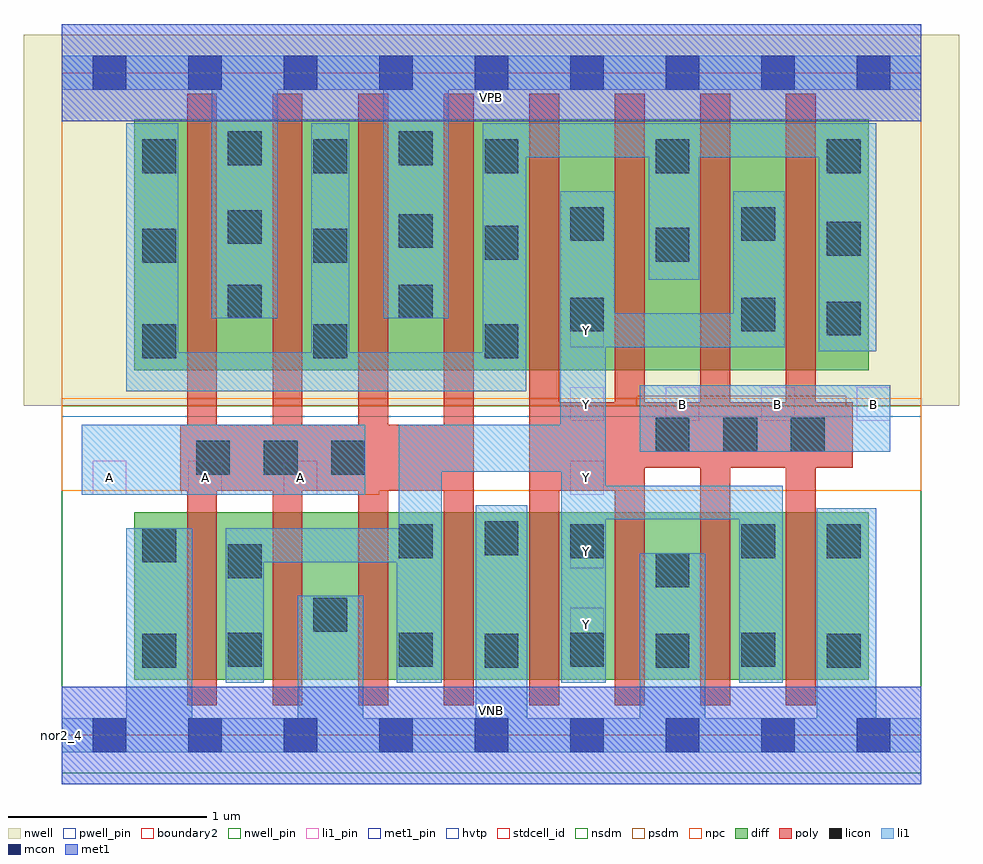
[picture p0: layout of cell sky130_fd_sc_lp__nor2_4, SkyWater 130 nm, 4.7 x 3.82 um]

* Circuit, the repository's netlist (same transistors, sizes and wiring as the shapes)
* Copyright 2020 The SkyWater PDK Authors
*
* Licensed under the Apache License, Version 2.0 (the "License");
* you may not use this file except in compliance with the License.
* You may obtain a copy of the License at
*
*     https://www.apache.org/licenses/LICENSE-2.0
*
* Unless required by applicable law or agreed to in writing, software
* distributed under the License is distributed on an "AS IS" BASIS,
* WITHOUT WARRANTIES OR CONDITIONS OF ANY KIND, either express or implied.
* See the License for the specific language governing permissions and
* limitations under the License.
*
* SPDX-License-Identifier: Apache-2.0

.SUBCKT sky130_fd_sc_lp__nor2_4 A B VGND VNB VPB VPWR Y
*.PININFO A:I B:I VGND:I VNB:I VPB:I VPWR:I Y:O
MMP0 VPWR A sndPA VPB sky130_fd_pr__pfet_01v8_hvt m=4 w=1.26U l=0.15U mult=1 sa=0.265
+ sb=0.265 sd=0.28 area=0.063 perim=1.14
MMP1 sndPA B Y VPB sky130_fd_pr__pfet_01v8_hvt m=4 w=1.26U l=0.15U mult=1 sa=0.265
+ sb=0.265 sd=0.28 area=0.063 perim=1.14
MMN0 Y A VGND VNB sky130_fd_pr__nfet_01v8 m=4 w=0.84U l=0.15U mult=1 sa=0.265 sb=0.265
+ sd=0.28 area=0.063 perim=1.14
MMN1 Y B VGND VNB sky130_fd_pr__nfet_01v8 m=4 w=0.84U l=0.15U mult=1 sa=0.265 sb=0.265
+ sd=0.28 area=0.063 perim=1.14
.ENDS sky130_fd_sc_lp__nor2_4

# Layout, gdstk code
import gdstk
lib = gdstk.Library(unit=1e-6, precision=1e-09)
def R(c, l, rs):  # rectangles x0, y0, x1, y1
    for r in rs: c.add(gdstk.rectangle(r[:2], r[2:], *l))
def A(c, l, x, y, w, h, nx, ny, dx, dy):  # array of equal rectangles
    R(c, l, [(x+i*dx, y+j*dy, x+i*dx+w, y+j*dy+h) for i in range(nx) for j in range(ny)])
def P(c, l, *ps):  # polygons
    for p in ps: c.add(gdstk.Polygon(p, *l))
nwell_pin = (64, 16)
nwell = (64, 20)
diff = (65, 20)
poly = (66, 20)
licon = (66, 44)
li1_pin = (67, 16)
li1 = (67, 20)
mcon = (67, 44)
met1_pin = (68, 16)
met1 = (68, 20)
hvtp = (78, 44)
stdcell_id = (81, 4)
nsdm = (93, 44)
psdm = (94, 20)
npc = (95, 20)
pwell_pin = (122, 16)
boundary2 = (236, 0)

sky130_fd_sc_lp__nor2_4 = lib.new_cell('sky130_fd_sc_lp__nor2_4')
R(sky130_fd_sc_lp__nor2_4, nwell_pin, [(0,3.085,4.32,3.33)])
R(sky130_fd_sc_lp__nor2_4, nwell, [(-0.19,1.655,4.51,3.52)])
R(sky130_fd_sc_lp__nor2_4, diff, [(0.365,0.28,4.055,1.12), (0.365,1.835,4.055,3.095)])
P(sky130_fd_sc_lp__nor2_4, poly, [(2.07,3.225),(1.92,3.225),(1.92,1.56),(1.64,1.56),(1.64,3.225),(1.49,3.225),(1.49,1.56),(1.21,1.56),(1.21,3.225),(1.06,3.225),(1.06,1.56),(0.78,1.56),(0.78,3.225),(0.63,3.225),(0.63,1.56),(0.595,1.56),(0.595,1.23),(0.63,1.23),(0.63,0.15),(0.78,0.15),(0.78,1.23),(1.06,1.23),(1.06,0.15),(1.21,0.15),(1.21,1.23),(1.49,1.23),(1.49,0.15),(1.64,0.15),(1.64,1.23),(1.92,1.23),(1.92,0.15),(2.07,0.15)],
  [(3.975,1.675),(3.79,1.675),(3.79,3.225),(3.64,3.225),(3.64,1.675),(3.36,1.675),(3.36,3.225),(3.21,3.225),(3.21,1.675),(2.93,1.675),(2.93,3.225),(2.78,3.225),(2.78,1.675),(2.5,1.675),(2.5,3.225),(2.35,3.225),(2.35,0.15),(2.5,0.15),(2.5,1.23),(2.78,1.23),(2.78,0.15),(2.93,0.15),(2.93,1.345),(3.21,1.345),(3.21,0.15),(3.36,0.15),(3.36,1.345),(3.64,1.345),(3.64,0.15),(3.79,0.15),(3.79,1.345),(3.975,1.345)])
A(sky130_fd_sc_lp__nor2_4, licon, 2.125, 0.34, 0.17, 0.17, 3, 1, 0.86, 0)
A(sky130_fd_sc_lp__nor2_4, licon, 0.835, 0.345, 0.17, 0.17, 4, 1, 0.86, 0)
A(sky130_fd_sc_lp__nor2_4, licon, 1.695, 0.89, 0.17, 0.17, 3, 1, 0.86, 0)
A(sky130_fd_sc_lp__nor2_4, licon, 0.675, 1.31, 0.17, 0.17, 3, 1, 0.34, 0)
A(sky130_fd_sc_lp__nor2_4, licon, 2.985, 1.425, 0.17, 0.17, 3, 1, 0.34, 0)
A(sky130_fd_sc_lp__nor2_4, licon, 0.405, 1.895, 0.17, 0.17, 3, 1, 0.86, 0)
A(sky130_fd_sc_lp__nor2_4, licon, 0.405, 2.825, 0.17, 0.17, 5, 1, 0.86, 0)
R(sky130_fd_sc_lp__nor2_4, licon, [(0.405,0.34,0.575,0.51), (1.265,0.52,1.435,0.69), (2.985,0.745,3.155,0.915), (0.835,0.79,1.005,0.96), (0.405,0.87,0.575,1.04), (3.845,0.89,4.015,1.06), (2.125,0.905,2.295,1.075), (3.845,2.01,4.015,2.18), (2.555,2.03,2.725,2.2), (3.415,2.03,3.585,2.2), (0.835,2.095,1.005,2.265), (1.695,2.095,1.865,2.265), (0.405,2.375,0.575,2.545), (1.265,2.375,1.435,2.545), (2.985,2.38,3.155,2.55), (2.125,2.39,2.295,2.56), (3.845,2.41,4.015,2.58), (1.695,2.45,1.865,2.62), (0.835,2.47,1.005,2.64), (2.555,2.485,2.725,2.655), (3.415,2.485,3.585,2.655), (0.835,2.865,1.005,3.035), (1.695,2.865,1.865,3.035)])
A(sky130_fd_sc_lp__nor2_4, li1_pin, 2.555, 0.47, 0.17, 0.17, 1, 3, 0, 0.37)
A(sky130_fd_sc_lp__nor2_4, li1_pin, 0.155, 1.21, 0.17, 0.17, 3, 1, 0.48, 0)
A(sky130_fd_sc_lp__nor2_4, li1_pin, 2.555, 1.58, 0.17, 0.17, 4, 1, 0.48, 0)
R(sky130_fd_sc_lp__nor2_4, li1_pin, [(2.555,1.95,2.725,2.12)])
R(sky130_fd_sc_lp__nor2_4, li1, [(0.1,1.21,1.525,1.56), (2.905,1.425,4.165,1.76)])
P(sky130_fd_sc_lp__nor2_4, li1, [(3.635,2.735),(3.375,2.735),(3.375,2.12),(2.78,2.12),(2.78,2.735),(2.505,2.735),(2.505,1.56),(1.695,1.56),(1.695,1.04),(0.825,1.04),(0.825,0.265),(1.015,0.265),(1.015,0.87),(1.685,0.87),(1.685,0.265),(1.91,0.265),(1.91,1.325),(2.51,1.325),(2.51,0.265),(2.735,0.265),(2.735,1.085),(3.405,1.085),(3.405,0.265),(3.625,0.265),(3.625,1.255),(2.735,1.255),(2.735,1.95),(3.635,1.95)],
  [(4.095,3.075),(2.115,3.075),(2.115,1.925),(1.445,1.925),(1.445,3.075),(1.255,3.075),(1.255,1.925),(0.585,1.925),(0.585,3.075),(0.325,3.075),(0.325,1.73),(2.335,1.73),(2.335,2.905),(2.95,2.905),(2.95,2.29),(3.205,2.29),(3.205,2.905),(3.805,2.905),(3.805,1.93),(4.095,1.93)],
  [(4.32,0.085),(4.095,0.085),(4.095,1.14),(3.795,1.14),(3.795,0.085),(3.235,0.085),(3.235,0.915),(2.905,0.915),(2.905,0.085),(2.34,0.085),(2.34,1.155),(2.08,1.155),(2.08,0.085),(1.515,0.085),(1.515,0.7),(1.185,0.7),(1.185,0.085),(0.655,0.085),(0.655,1.04),(0.325,1.04),(0.325,0.085),(0,0.085),(0,-0.085),(4.32,-0.085)],
  [(4.32,3.415),(0,3.415),(0,3.245),(0.755,3.245),(0.755,2.095),(1.085,2.095),(1.085,3.245),(1.615,3.245),(1.615,2.095),(1.945,2.095),(1.945,3.245),(4.32,3.245)])
A(sky130_fd_sc_lp__nor2_4, mcon, 0.155, -0.085, 0.17, 0.17, 9, 2, 0.48, 3.33)
R(sky130_fd_sc_lp__nor2_4, met1_pin, [(0,0,4.32,0.245), (0,3.085,4.32,3.33)])
R(sky130_fd_sc_lp__nor2_4, met1, [(0,-0.245,4.32,0.245), (0,3.085,4.32,3.575)])
R(sky130_fd_sc_lp__nor2_4, hvtp, [(0,1.6,4.32,3.33)])
R(sky130_fd_sc_lp__nor2_4, stdcell_id, [(0,0,4.32,3.33)])
R(sky130_fd_sc_lp__nor2_4, nsdm, [(0,-0.19,4.32,1.655)])
P(sky130_fd_sc_lp__nor2_4, psdm, [(4.32,3.52),(0,3.52),(0,1.655),(2.89,1.655),(2.89,1.705),(3.94,1.705),(3.94,1.655),(4.32,1.655)])
P(sky130_fd_sc_lp__nor2_4, npc, [(4.32,1.695),(0,1.695),(0,1.23),(0.6,1.23),(0.6,1.21),(1.595,1.21),(1.595,1.23),(4.32,1.23)])
R(sky130_fd_sc_lp__nor2_4, pwell_pin, [(0,0,4.32,0.245)])
R(sky130_fd_sc_lp__nor2_4, boundary2, [(0,0,4.32,3.33)])
sky130_fd_sc_lp__nor2_4.add(gdstk.Label('VNB', (2.16,0.123), layer=64, texttype=59))
sky130_fd_sc_lp__nor2_4.add(gdstk.Label('VPB', (2.16,3.208), layer=64, texttype=5))
sky130_fd_sc_lp__nor2_4.add(gdstk.Label('nor2_4', (0,0), layer=83, texttype=44))
sky130_fd_sc_lp__nor2_4.add(gdstk.Label('VPWR', (2.16,3.208), layer=68, texttype=5))
sky130_fd_sc_lp__nor2_4.add(gdstk.Label('VGND', (2.16,0.123), layer=68, texttype=5))
sky130_fd_sc_lp__nor2_4.add(gdstk.Label('Y', (2.64,0.555), layer=67, texttype=5))
sky130_fd_sc_lp__nor2_4.add(gdstk.Label('Y', (2.64,0.925), layer=67, texttype=5))
sky130_fd_sc_lp__nor2_4.add(gdstk.Label('Y', (2.64,1.295), layer=67, texttype=5))
sky130_fd_sc_lp__nor2_4.add(gdstk.Label('Y', (2.64,1.665), layer=67, texttype=5))
sky130_fd_sc_lp__nor2_4.add(gdstk.Label('Y', (2.64,2.035), layer=67, texttype=5))
sky130_fd_sc_lp__nor2_4.add(gdstk.Label('A', (0.24,1.295), layer=67, texttype=5))
sky130_fd_sc_lp__nor2_4.add(gdstk.Label('A', (0.72,1.295), layer=67, texttype=5))
sky130_fd_sc_lp__nor2_4.add(gdstk.Label('A', (1.2,1.295), layer=67, texttype=5))
sky130_fd_sc_lp__nor2_4.add(gdstk.Label('B', (3.12,1.665), layer=67, texttype=5))
sky130_fd_sc_lp__nor2_4.add(gdstk.Label('B', (3.6,1.665), layer=67, texttype=5))
sky130_fd_sc_lp__nor2_4.add(gdstk.Label('B', (4.08,1.665), layer=67, texttype=5))

lib.write_gds('sky130_fd_sc_lp__nor2_4.gds')
